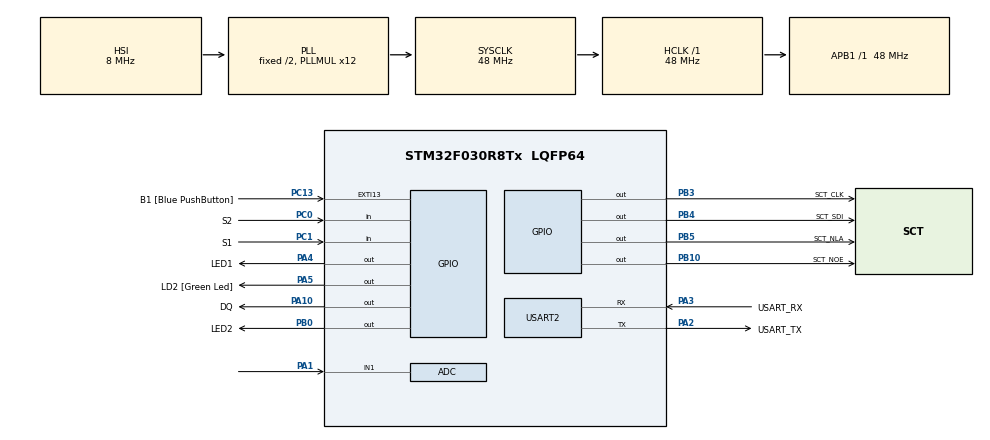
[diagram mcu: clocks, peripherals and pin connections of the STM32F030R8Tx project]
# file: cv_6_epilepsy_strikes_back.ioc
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ADC.ContinuousConvMode=ENABLE
ADC.Overrun=ADC_OVR_DATA_OVERWRITTEN
ADC.Resolution=ADC_RESOLUTION_10B
Mcu.Family=STM32F0
Mcu.Name=STM32F030R8Tx
Mcu.Package=LQFP64
PA1.Mode=IN1
PA1.Signal=ADC_IN1
PA10.GPIO_Label=DQ
PA10.Signal=GPIO_Output
PA13.GPIO_Label=TMS
PA13.Mode=Serial_Wire
PA13.Signal=SYS_SWDIO
PA14.GPIO_Label=TCK
PA14.Mode=Serial_Wire
PA14.Signal=SYS_SWCLK
PA2.GPIO_Label=USART_TX
PA2.GPIO_Mode=GPIO_MODE_AF_PP
PA2.GPIO_PuPd=GPIO_NOPULL
PA2.GPIO_Speed=GPIO_SPEED_FREQ_LOW
PA2.Mode=Asynchronous
PA2.Signal=USART2_TX
PA3.GPIO_Label=USART_RX
PA3.GPIO_Mode=GPIO_MODE_AF_PP
PA3.GPIO_PuPd=GPIO_NOPULL
PA3.GPIO_Speed=GPIO_SPEED_FREQ_LOW
PA3.Mode=Asynchronous
PA3.Signal=USART2_RX
PA4.GPIO_Label=LED1
PA4.Signal=GPIO_Output
PA5.GPIO_Label=LD2 [Green Led]
PA5.GPIO_Mode=GPIO_MODE_OUTPUT_PP
PA5.GPIO_PuPd=GPIO_NOPULL
PA5.GPIO_Speed=GPIO_SPEED_FREQ_LOW
PA5.Signal=GPIO_Output
PB0.GPIO_Label=LED2
PB0.Signal=GPIO_Output
PB10.GPIO_Label=SCT_NOE
PB10.Signal=GPIO_Output
PB3.GPIO_Label=SCT_CLK
PB3.Signal=GPIO_Output
PB4.GPIO_Label=SCT_SDI
PB4.Signal=GPIO_Output
PB5.GPIO_Label=SCT_NLA
PB5.Signal=GPIO_Output
PC0.GPIO_Label=S2
PC0.GPIO_PuPd=GPIO_PULLUP
PC0.Signal=GPIO_Input
PC1.GPIO_Label=S1
PC1.GPIO_PuPd=GPIO_PULLUP
PC1.Signal=GPIO_Input
PC13.GPIO_Label=B1 [Blue PushButton]
PC13.GPIO_ModeDefaultEXTI=GPIO_MODE_IT_FALLING
PC13.Signal=GPXTI13
PC14-OSC32_IN.Mode=LSE-External-Oscillator
PC14-OSC32_IN.Signal=RCC_OSC32_IN
PC15-OSC32_OUT.Mode=LSE-External-Oscillator
PC15-OSC32_OUT.Signal=RCC_OSC32_OUT
PF0-OSC_IN.Mode=HSE-External-Clock-Source
PF0-OSC_IN.Signal=RCC_OSC_IN
PF1-OSC_OUT.Signal=RCC_OSC_OUT
ProjectManager.HeapSize=0x200
ProjectManager.StackSize=0x400
ProjectManager.TargetToolchain=STM32CubeIDE
RCC.AHBFreq_Value=48000000
RCC.APB1Freq_Value=48000000
RCC.APB1TimFreq_Value=48000000
RCC.HCLKFreq_Value=48000000
RCC.PLLMUL=RCC_PLL_MUL12
RCC.SYSCLKFreq_VALUE=48000000
RCC.SYSCLKSource=RCC_SYSCLKSOURCE_PLLCLK
USART2.VirtualMode-Asynchronous=VM_ASYNC
board=NUCLEO-F030R8

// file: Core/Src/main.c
/* USER CODE BEGIN Header */
/**
 ******************************************************************************
 * @file           : main.c
 * @brief          : Main program body
 ******************************************************************************
 * @attention
 *
 * Copyright (c) 2024 STMicroelectronics.
 * All rights reserved.
 *
 * This software is licensed under terms that can be found in the LICENSE file
 * in the root directory of this software component.
 * If no LICENSE file comes with this software, it is provided AS-IS.
 *
 ******************************************************************************
 */
/* USER CODE END Header */
#include "main.h"

/* USER CODE BEGIN Includes */
#include "sct.h"
#include "1wire.h"

/* USER CODE END Includes */

/* USER CODE BEGIN PD */
#define CONVERT_T_DELAY 750
#define HAL_DELAY 50
/* USER CODE END PD */

ADC_HandleTypeDef hadc;

UART_HandleTypeDef huart2;

void SystemClock_Config(void);
static void MX_GPIO_Init(void);
static void MX_USART2_UART_Init(void);
static void MX_ADC_Init(void);

int main(void) {

	/* MCU Configuration--------------------------------------------------------*/

	/* Reset of all peripherals, Initializes the Flash interface and the Systick. */
	HAL_Init();

	/* Configure the system clock */
	SystemClock_Config();

	/* Initialize all configured peripherals */
	MX_GPIO_Init();
	MX_USART2_UART_Init();
	MX_ADC_Init();
	/* USER CODE BEGIN 2 */
	sct_init();
	OWInit();
	HAL_ADCEx_Calibration_Start(&hadc);
	HAL_ADC_Start(&hadc);
	/* USER CODE END 2 */

	/* Infinite loop */
	while (1) {

		/* USER CODE BEGIN 3 */

		static int16_t temp;
		static uint32_t ADC_value;
		static const int16_t ntc_lookup[] = {
#include "data.dlm"
				};
		static uint32_t delay;

		static enum {
			DS, NTC
		} state = DS;

		ADC_value = HAL_ADC_GetValue(&hadc);

		if (HAL_GPIO_ReadPin(S1_GPIO_Port, S1_Pin) == 0) {
			state = DS;
			delay = HAL_GetTick();
		}

		if (HAL_GPIO_ReadPin(S2_GPIO_Port, S2_Pin) == 0) {
			state = NTC;
			delay = HAL_GetTick();
		}

		switch (state) {
		case DS:
			HAL_GPIO_WritePin(LED2_GPIO_Port, LED2_Pin, 1);
			HAL_GPIO_WritePin(LED1_GPIO_Port, LED1_Pin, 0);
			if (HAL_GetTick() > delay + CONVERT_T_DELAY) {
				OWConvertAll();
				OWReadTemperature(&temp);
				sct_value(temp / 10, 0);
			}
			break;

		case NTC:
			HAL_GPIO_WritePin(LED1_GPIO_Port, LED1_Pin, 1);
			HAL_GPIO_WritePin(LED2_GPIO_Port, LED2_Pin, 0);
			if (HAL_GetTick() > delay + HAL_DELAY) {
				sct_value(ntc_lookup[ADC_value], 0);
			}
			break;
		}

	}
	/* USER CODE END 3 */
}

void SystemClock_Config(void) {
	RCC_OscInitTypeDef RCC_OscInitStruct = { 0 };
	RCC_ClkInitTypeDef RCC_ClkInitStruct = { 0 };

	/** Initializes the RCC Oscillators according to the specified parameters
	 * in the RCC_OscInitTypeDef structure.
	 */
	RCC_OscInitStruct.OscillatorType = RCC_OSCILLATORTYPE_HSI
			| RCC_OSCILLATORTYPE_HSI14;
	RCC_OscInitStruct.HSIState = RCC_HSI_ON;
	RCC_OscInitStruct.HSI14State = RCC_HSI14_ON;
	RCC_OscInitStruct.HSICalibrationValue = RCC_HSICALIBRATION_DEFAULT;
	RCC_OscInitStruct.HSI14CalibrationValue = 16;
	RCC_OscInitStruct.PLL.PLLState = RCC_PLL_ON;
	RCC_OscInitStruct.PLL.PLLSource = RCC_PLLSOURCE_HSI;
	RCC_OscInitStruct.PLL.PLLMUL = RCC_PLL_MUL12;
	RCC_OscInitStruct.PLL.PREDIV = RCC_PREDIV_DIV1;
	if (HAL_RCC_OscConfig(&RCC_OscInitStruct) != HAL_OK) {
		Error_Handler();
	}

	/** Initializes the CPU, AHB and APB buses clocks
	 */
	RCC_ClkInitStruct.ClockType = RCC_CLOCKTYPE_HCLK | RCC_CLOCKTYPE_SYSCLK
			| RCC_CLOCKTYPE_PCLK1;
	RCC_ClkInitStruct.SYSCLKSource = RCC_SYSCLKSOURCE_PLLCLK;
	RCC_ClkInitStruct.AHBCLKDivider = RCC_SYSCLK_DIV1;
	RCC_ClkInitStruct.APB1CLKDivider = RCC_HCLK_DIV1;

	if (HAL_RCC_ClockConfig(&RCC_ClkInitStruct, FLASH_LATENCY_1) != HAL_OK) {
		Error_Handler();
	}
}

static void MX_ADC_Init(void) {

	ADC_ChannelConfTypeDef sConfig = { 0 };

	/** Configure the global features of the ADC (Clock, Resolution, Data Alignment and number of conversion)
	 */
	hadc.Instance = ADC1;
	hadc.Init.ClockPrescaler = ADC_CLOCK_ASYNC_DIV1;
	hadc.Init.Resolution = ADC_RESOLUTION_10B;
	hadc.Init.DataAlign = ADC_DATAALIGN_RIGHT;
	hadc.Init.ScanConvMode = ADC_SCAN_DIRECTION_FORWARD;
	hadc.Init.EOCSelection = ADC_EOC_SINGLE_CONV;
	hadc.Init.LowPowerAutoWait = DISABLE;
	hadc.Init.LowPowerAutoPowerOff = DISABLE;
	hadc.Init.ContinuousConvMode = ENABLE;
	hadc.Init.DiscontinuousConvMode = DISABLE;
	hadc.Init.ExternalTrigConv = ADC_SOFTWARE_START;
	hadc.Init.ExternalTrigConvEdge = ADC_EXTERNALTRIGCONVEDGE_NONE;
	hadc.Init.DMAContinuousRequests = DISABLE;
	hadc.Init.Overrun = ADC_OVR_DATA_OVERWRITTEN;
	if (HAL_ADC_Init(&hadc) != HAL_OK) {
		Error_Handler();
	}

	/** Configure for the selected ADC regular channel to be converted.
	 */
	sConfig.Channel = ADC_CHANNEL_1;
	sConfig.Rank = ADC_RANK_CHANNEL_NUMBER;
	sConfig.SamplingTime = ADC_SAMPLETIME_1CYCLE_5;
	if (HAL_ADC_ConfigChannel(&hadc, &sConfig) != HAL_OK) {
		Error_Handler();
	}

}

static void MX_USART2_UART_Init(void) {

	huart2.Instance = USART2;
	huart2.Init.BaudRate = 38400;
	huart2.Init.WordLength = UART_WORDLENGTH_8B;
	huart2.Init.StopBits = UART_STOPBITS_1;
	huart2.Init.Parity = UART_PARITY_NONE;
	huart2.Init.Mode = UART_MODE_TX_RX;
	huart2.Init.HwFlowCtl = UART_HWCONTROL_NONE;
	huart2.Init.OverSampling = UART_OVERSAMPLING_16;
	huart2.Init.OneBitSampling = UART_ONE_BIT_SAMPLE_DISABLE;
	huart2.AdvancedInit.AdvFeatureInit = UART_ADVFEATURE_NO_INIT;
	if (HAL_UART_Init(&huart2) != HAL_OK) {
		Error_Handler();
	}

}

static void MX_GPIO_Init(void) {
	GPIO_InitTypeDef GPIO_InitStruct = { 0 };

	/* GPIO Ports Clock Enable */
	__HAL_RCC_GPIOC_CLK_ENABLE();
	__HAL_RCC_GPIOF_CLK_ENABLE();
	__HAL_RCC_GPIOA_CLK_ENABLE();
	__HAL_RCC_GPIOB_CLK_ENABLE();

	/*Configure GPIO pin Output Level */
	HAL_GPIO_WritePin(GPIOA, LED1_Pin | LD2_Pin | DQ_Pin, GPIO_PIN_RESET);

	/*Configure GPIO pin Output Level */
	HAL_GPIO_WritePin(GPIOB,
			LED2_Pin | SCT_NOE_Pin | SCT_CLK_Pin | SCT_SDI_Pin | SCT_NLA_Pin,
			GPIO_PIN_RESET);

	/*Configure GPIO pin : B1_Pin */
	GPIO_InitStruct.Pin = B1_Pin;
	GPIO_InitStruct.Mode = GPIO_MODE_IT_FALLING;
	GPIO_InitStruct.Pull = GPIO_NOPULL;
	HAL_GPIO_Init(B1_GPIO_Port, &GPIO_InitStruct);

	/*Configure GPIO pins : S2_Pin S1_Pin */
	GPIO_InitStruct.Pin = S2_Pin | S1_Pin;
	GPIO_InitStruct.Mode = GPIO_MODE_INPUT;
	GPIO_InitStruct.Pull = GPIO_PULLUP;
	HAL_GPIO_Init(GPIOC, &GPIO_InitStruct);

	/*Configure GPIO pins : LED1_Pin LD2_Pin DQ_Pin */
	GPIO_InitStruct.Pin = LED1_Pin | LD2_Pin | DQ_Pin;
	GPIO_InitStruct.Mode = GPIO_MODE_OUTPUT_PP;
	GPIO_InitStruct.Pull = GPIO_NOPULL;
	GPIO_InitStruct.Speed = GPIO_SPEED_FREQ_LOW;
	HAL_GPIO_Init(GPIOA, &GPIO_InitStruct);

	/*Configure GPIO pins : LED2_Pin SCT_NOE_Pin SCT_CLK_Pin SCT_SDI_Pin
	 SCT_NLA_Pin */
	GPIO_InitStruct.Pin = LED2_Pin | SCT_NOE_Pin | SCT_CLK_Pin | SCT_SDI_Pin
			| SCT_NLA_Pin;
	GPIO_InitStruct.Mode = GPIO_MODE_OUTPUT_PP;
	GPIO_InitStruct.Pull = GPIO_NOPULL;
	GPIO_InitStruct.Speed = GPIO_SPEED_FREQ_LOW;
	HAL_GPIO_Init(GPIOB, &GPIO_InitStruct);

}

void Error_Handler(void) {
	__disable_irq();
	while (1) {
	}
}
